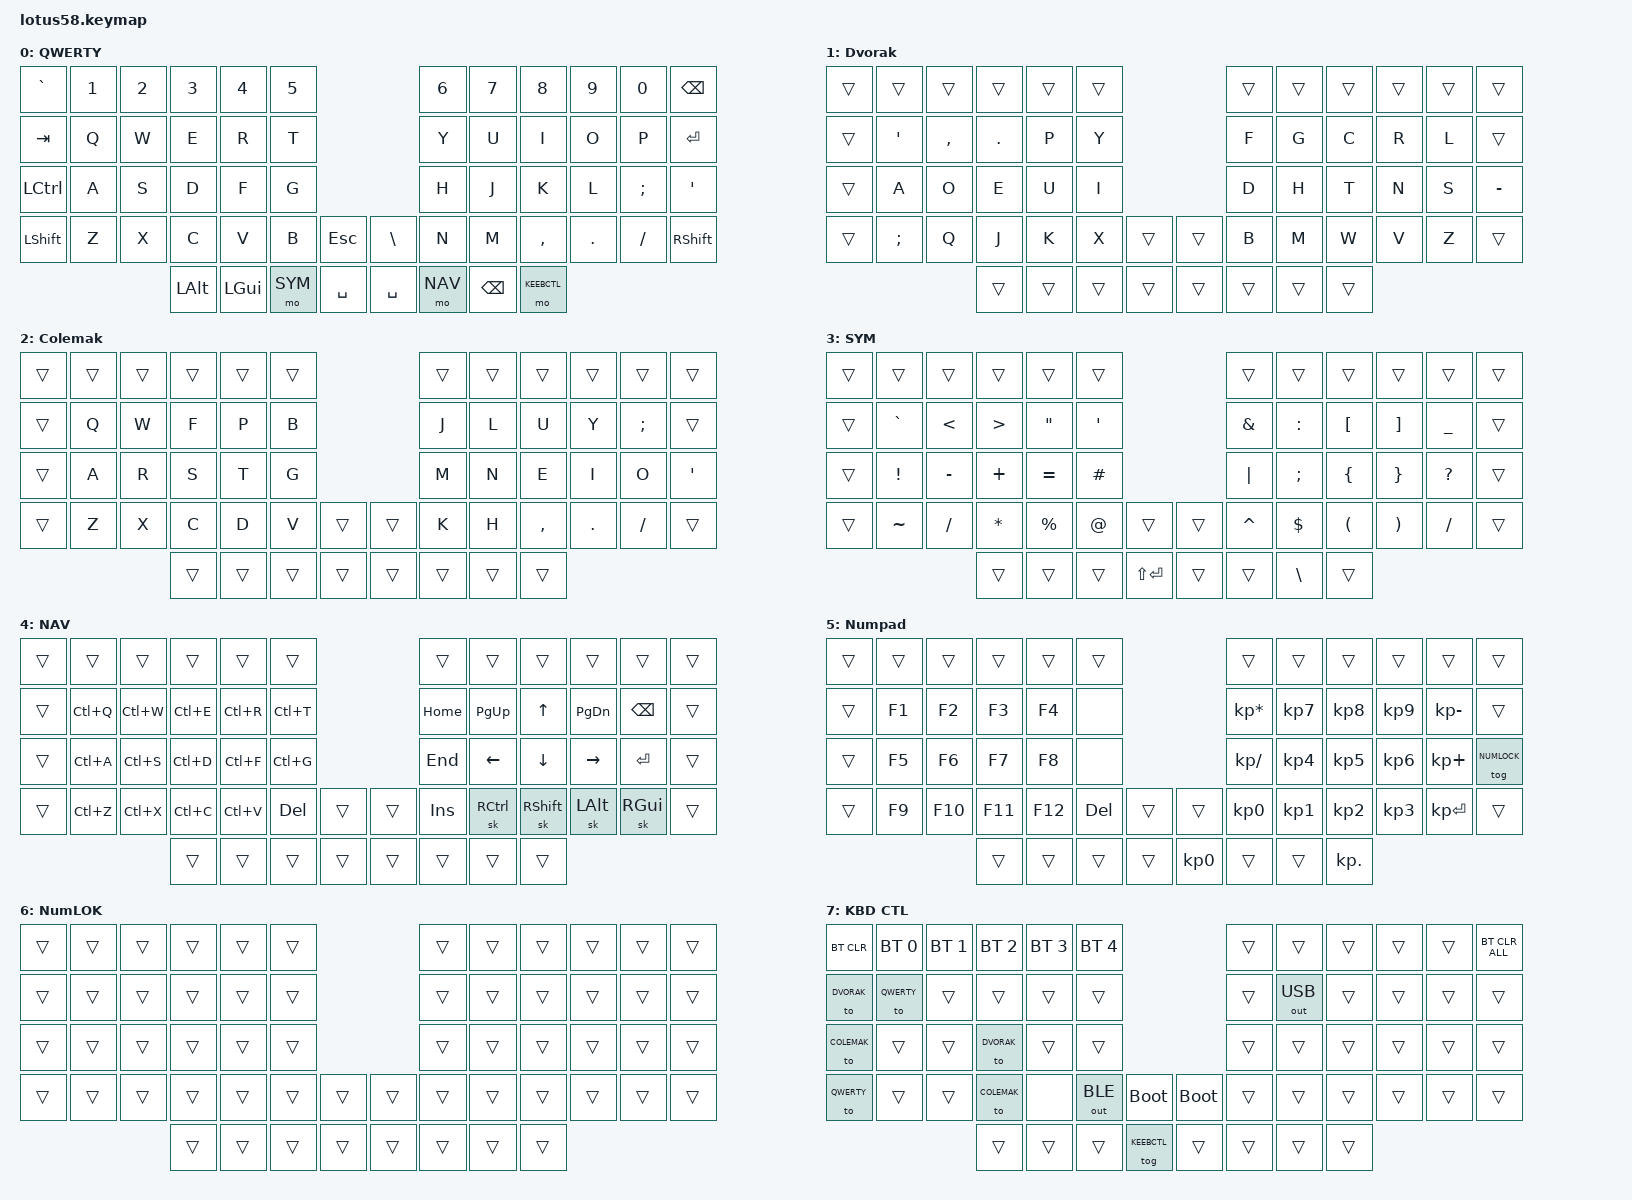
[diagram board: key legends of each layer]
/*
 * Copyright (c) 2024 Allister MacLeod
 *
 * SPDX-License-Identifier: MIT
 */

#include <behaviors.dtsi>
#include <dt-bindings/zmk/keys.h>
#include <dt-bindings/zmk/bt.h>
#include <dt-bindings/zmk/outputs.h>
#include <dt-bindings/zmk/ext_power.h>

#include "zmk-helpers/helper.h"
#include "key-labels-glam/lily58.h"
#include "glam-util.dtsi"

// Things to try next:
// - more stuff in the keyboard control layer, like stuff on the right half


#define DEFAULT 0
#define QWERTY  0
#define DVORAK  1
#define COLEMAK 2
#define SYM     3
#define NAV     4
#define NUMPAD  5
#define NUMLOCK 6
#define KEEBCTL 7

// Map of key positions:
//  0  1  2  3  4  5          6  7  8  9 10 11
// 12 13 14 15 16 17         18 19 20 21 22 23
// 24 25 26 27 28 29         30 31 32 33 34 35
// 36 37 38 39 40 41 42   43 44 45 46 47 48 49
//         50 51 52 53     54 55 56 57
//
// Note: 42 and 43 are offset 1/2 key upward, between bottom row and home row.
// The "main thumb keys" 53 and 54 are 1.5u bars set diagonally.

/ {

combos {
  compatible = "zmk,combos";

#define GLAM_SUPPRESS_NUMBER_COMBOS
#include "glam-sym-nav-num-combos.dtsi"

};

behaviors {
  slx: sticky_layer_extended {
    compatible = "zmk,behavior-sticky-key";
    #binding-cells = <1>;
    bindings = <&mo>;
    release-after-ms = <8000>;
  };
  tphold: tap_prefrerred_hold {
    compatible = "zmk-behavior-hold-tap";
    #binding-cells = <2>;
    tapping-term-ms = <200>;
    flavor = "tap-preferred";
    bindings = <&kp>, <&kp>;
  };
};

conditional_layers {
  compatible = "zmk,conditional-layers";
  numeric_momentary {
    if-layers = <NAV SYM>;
    then-layer = <NUMPAD>;
  };
  numeric_lock {
    if-layers = <NUMLOCK>;
    then-layer = <NUMPAD>;
  };
};

keymap {
  compatible = "zmk,keymap";

  qwerty_layer {
// ,-----------------------------------.             ,-----------------------------------.
// | ` ~ |  1  |  2  |  3  |  4  |  5  |             |  6  |  7  |  8  |  9  |  0  | Bks |
// | Tab |  Q  |  W  |  E  |  R  |  T  |             |  Y  |  U  |  I  |  O  |  P  | Ret |
// | Ctl |  A  |  S  |  D  |  F  |  G  |-----. ,-----|  H  |  J  |  K  |  L  |  ;  |  '  |
// |Shift|  Z  |  X  |  C  |  V  |  B  | Esc | | \ | |  N  |  M  |  ,  |  .  |  /  |Shift|
// `----------------| Alt | GUI | SYM | Spc |   | Spc | NAV | Bks |KBCTL|----------------'
    bindings = <
&kp GRAVE &kp N1 &kp N2 &kp N3   &kp N4   &kp N5                      &kp N6 &kp N7   &kp N8    &kp N9  &kp N0   &kp BSPC
&kp TAB   &kp Q  &kp W  &kp E    &kp R    &kp T                       &kp Y  &kp U    &kp I     &kp O   &kp P    &kp ENTER
&kp LCTRL &kp A  &kp S  &kp D    &kp F    &kp G                       &kp H  &kp J    &kp K     &kp L   &kp SEMI &kp SQT
&kp LSHFT &kp Z  &kp X  &kp C    &kp V    &kp B  &kp ESC    &kp BSLH  &kp N  &kp M    &kp COMMA &kp DOT &kp FSLH &kp RSHFT
                      &kp LALT &kp LGUI &mo SYM &kp SPACE   &kp SPACE &mo NAV &kp BSPC &mo KEEBCTL
    >;
    display-name = "QWERTY";
  };

  dvorak_layer {
// ,-----------------------------------.             ,-----------------------------------.
// |     |     |     |     |     |     |             |     |     |     |     |     |     |
// |     |  '  |  ,  |  .  |  P  |  Y  |             |  F  |  G  |  C  |  R  |  L  |     |
// |     |  A  |  O  |  E  |  U  |  I  |-----. ,-----|  D  |  H  |  T  |  N  |  S  |  -  |
// |     |  ;  |  Q  |  J  |  K  |  X  |     | |     |  B  |  M  |  W  |  V  |  Z  |     |
// `----------------|     |     |     |     |   |     |     |     |     |----------------'
    bindings = <
&trans &trans &trans &trans &trans &trans                     &trans &trans &trans &trans &trans &trans
&trans &kp SQT  &kp COMMA &kp DOT &kp P &kp Y                 &kp F  &kp G  &kp C  &kp R  &kp L  &trans
&trans &kp A    &kp O     &kp E   &kp U &kp I                 &kp D  &kp H  &kp T  &kp N  &kp S  &kp MINUS
&trans &kp SEMI &kp Q     &kp J   &kp K &kp X &trans   &trans &kp B  &kp M  &kp W  &kp V  &kp Z  &trans
                   &trans &trans &trans &trans            &trans &trans &trans &trans
    >;
    display-name = "Dvorak";
  };

  colemak_dh_layer {
// ,-----------------------------------.             ,-----------------------------------.
// |     |     |     |     |     |     |             |     |     |     |     |     |     |
// |     |  Q  |  W  |  F  |  P  |  B  |             |  J  |  L  |  U  |  Y  |  ;  |     |
// |     |  A  |  R  |  S  |  T  |  G  |-----. ,-----|  M  |  N  |  E  |  I  |  O  |  '  |
// |     |  Z  |  X  |  C  |  D  |  V  |     | |     |  K  |  H  |  ,  |  .  |  /  |     |
// `----------------|     |     |     |     |   |     |     |     |     |----------------'
    bindings = <
&trans &trans &trans &trans &trans &trans                     &trans &trans &trans &trans &trans &trans
&trans &kp Q  &kp W  &kp F  &kp P  &kp B                      &kp J  &kp L  &kp U  &kp Y  &kp SEMI &trans
&trans &kp A  &kp R  &kp S  &kp T  &kp G                      &kp M  &kp N  &kp E  &kp I  &kp O    &kp SQT
&trans &kp Z  &kp X  &kp C  &kp D  &kp V &trans        &trans &kp K  &kp H  &kp COMMA &kp DOT &kp FSLH &trans
                   &trans &trans &trans &trans            &trans &trans &trans &trans
    >;
    display-name = "Colemak";
  };

  symbol_layer {
// ,-----------------------------------.             ,-----------------------------------.
// |     |     |     |     |     |     |             |     |     |     |     |     |     |
// |     |  `  |  <  |  >  |  "  |  '  |             |  &  |  :  |  [  |  ]  |  _  |     |
// |     |  !  |  -  |  +  |  =  |  #  |-----. ,-----|  |  |  ;  |  {  |  }  |  ?  |     |
// |     |  ~  |  /  |  *  |  %  |  @  |     | |     |  ^  |  $  |  (  |  )  |  /  |     |
// `----------------|     |     |#####|ShRet|   |     | NUM |  \  |     |----------------'
    bindings = <
&trans &trans    &trans    &trans   &trans      &trans                 &trans    &trans     &trans   &trans   &trans    &trans
&trans &kp GRAVE &kp LT    &kp GT   &kp DQT     &kp SQT                &kp AMPS  &kp COLON  &kp LBKT &kp RBKT &kp UNDER &trans
&trans &kp EXCL  &kp MINUS &kp PLUS &kp EQUAL   &kp HASH               &kp PIPE  &kp SEMI   &kp LBRC &kp RBRC &kp QMARK &trans
&trans &kp TILDE &kp SLASH &kp STAR &kp PERCENT &kp AT &trans   &trans &kp CARET &kp DOLLAR &kp LPAR &kp RPAR &kp SLASH &trans
                         &trans &trans &trans &kp LS(ENTER)        &trans &trans &kp BSLH &trans
    >;
    display-name = "SYM";
  };

  navigation_layer {
// ,-----------------------------------.             ,-----------------------------------.
// |     |     |     |     |     |     |             |     |     |     |     |     |     |
// |     | ^Q  | ^W  | ^E  | ^R  | ^T  |             | Home| PgU | Up  | PgD | Bks |     |
// |     | ^A  | ^S  | ^D  | ^F  | ^G  |-----. ,-----| End | Left| Down|Right| Ret |     |
// |     | ^Z  | ^X  | ^C  | ^V  | Del |     | |     | Ins | Ctrl|Shift| Alt | GUI |     |
// `----------------|     |     | NUM |     |   |     |#####|     |     |----------------'
    bindings = <
&trans &trans &trans &trans  &trans  &trans                                &trans   &trans    &trans     &trans    &trans   &trans
&trans &kp LC(Q) &kp LC(W) &kp LC(E) &kp LC(R) &kp LC(T)                   &kp HOME &kp PG_UP &kp UP     &kp PG_DN &kp BSPC &trans
&trans &kp LC(A) &kp LC(S) &kp LC(D) &kp LC(F) &kp LC(G)                   &kp END  &kp LEFT  &kp DOWN   &kp RIGHT &kp RET  &trans
&trans &kp LC(Z) &kp LC(X) &kp LC(C) &kp LC(V) &kp DEL &trans       &trans &kp INS  &sk RCTRL &sk RSHIFT &sk LALT  &sk RGUI &trans
                           &trans &trans &trans &trans           &trans &trans &trans &trans
    >;
    display-name = "NAV";
  };

  numpad_layer {
// ,-----------------------------------.             ,-----------------------------------.
// |     |     |     |     |     |     |             |     |     |     |     |     |     |
// |     | F1  | F2  | F3  | F4  |XXXXX|             |  *  |  7  |  8  |  9  |  -  |     |
// |     | F5  | F6  | F7  | F8  |XXXXX|-----. ,-----|  /  |  4  |  5  |  6  |  +  |NumLk|
// |     | F9  | F10 | F11 | F12 | Del |     | |     |  0  |  1  |  2  |  3  | Ent |     |
// `----------------|     |     |#####|     |   |  0  |#####|     |  .  |----------------'
    bindings = <
&trans &trans &trans  &trans  &trans  &trans                      &trans          &trans    &trans    &trans    &trans          &trans
&trans &kp F1 &kp F2  &kp F3  &kp F4  &none                       &kp KP_MULTIPLY &kp KP_N7 &kp KP_N8 &kp KP_N9 &kp KP_SUBTRACT &trans
&trans &kp F5 &kp F6  &kp F7  &kp F8  &none                       &kp KP_DIVIDE   &kp KP_N4 &kp KP_N5 &kp KP_N6 &kp KP_PLUS     &tog NUMLOCK
&trans &kp F9 &kp F10 &kp F11 &kp F12 &kp DEL &trans       &trans &kp KP_N0       &kp KP_N1 &kp KP_N2 &kp KP_N3 &kp KP_ENTER    &trans
                       &trans &trans &trans &trans           &kp KP_N0 &trans &trans &kp KP_DOT
    >;
    display-name = "Numpad";
  };

num_lock_layer {
    // Only exists to toggle numpad layer lock on and off.
    bindings = <
&trans &trans &trans &trans &trans &trans                     &trans &trans &trans &trans &trans &trans
&trans &trans &trans &trans &trans &trans                     &trans &trans &trans &trans &trans &trans
&trans &trans &trans &trans &trans &trans                     &trans &trans &trans &trans &trans &trans
&trans &trans &trans &trans &trans &trans &trans       &trans &trans &trans &trans &trans &trans &trans
                   &trans &trans &trans &trans            &trans &trans &trans &trans
    >;
    display-name = "NumLOK";
  };

  keyboard_control_layer {
// ,-----------------------------------.             ,-----------------------------------.
// |BTC_C| BT1 | BT2 | BT3 | BT4 | BT5 |             |     |     |     |     |     |BTC_A|
// |Dvork|QWRTY|     |     |     |     |             |     | USB |     |     |     |     |
// |Colmk|     |     |Dvork|     |     |-----. ,-----|     |     |     |     |     |     |
// |QWRTY|     |     |Colmk|     | BLE | DFU | | DFU |     |     |     |     |     |     |
// `----------------|     |     |     |     |   |     |     |     |     |----------------'
    bindings = <
&bt BT_CLR  &bt BT_SEL 0 &bt BT_SEL 1 &bt BT_SEL 2 &bt BT_SEL 3 &bt BT_SEL 4                   &trans &trans &trans &trans &trans &bt BT_CLR_ALL
&to DVORAK  &to QWERTY   &trans       &trans       &trans       &trans                         &trans &out OUT_USB &trans &trans &trans &trans
&to COLEMAK &trans       &trans       &to DVORAK   &trans       &trans                         &trans &trans &trans &trans &trans &trans
&to QWERTY  &trans       &trans       &to COLEMAK  &none        &out OUT_BLE  &bootloader   &bootloader &trans &trans &trans &trans &trans &trans
                                                        &trans &trans &trans &tog KEEBCTL      &trans &trans &trans &trans
    >;
    display-name = "KBD CTL";
  };
};
// end keymap
};
